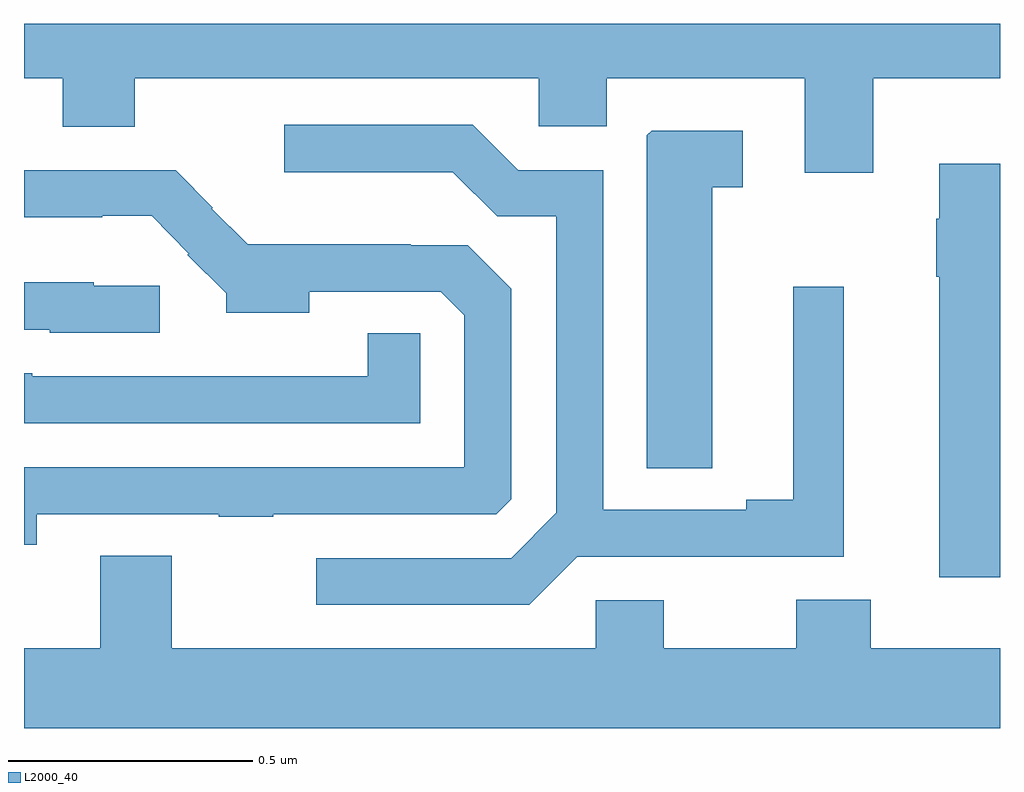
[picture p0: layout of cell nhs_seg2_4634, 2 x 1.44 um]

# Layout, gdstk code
import gdstk
lib = gdstk.Library(unit=1e-6, precision=1e-09)
def P(c, l, *ps):  # polygons
    for p in ps: c.add(gdstk.Polygon(p, *l))
L2000_40 = (2000, 40)

nhs_seg2_4634 = lib.new_cell('nhs_seg2_4634')
P(nhs_seg2_4634, L2000_40, [(170.74,595.688),(171,595.688),(171,595.8),(169,595.8),(169,595.688),(169.079,595.688),(169.079,595.589),(169.227,595.589),(169.227,595.688),(170.055,595.688),(170.055,595.59),(170.194,595.59),(170.194,595.688),(170.6,595.688),(170.6,595.494),(170.74,595.494)],
  [(170.134,594.708),(170.68,594.708),(170.68,595.261),(170.576,595.261),(170.576,594.824),(170.48,594.824),(170.48,594.804),(170.187,594.804),(170.187,595.5),(170.013,595.5),(169.92,595.593),(169.533,595.593),(169.533,595.496),(169.879,595.496),(169.97,595.405),(170.091,595.405),(170.091,594.798),(169.998,594.705),(169.599,594.705),(169.599,594.609),(170.035,594.609)],
  [(170.41,595.465),(170.473,595.465),(170.473,595.581),(170.286,595.581),(170.276,595.571),(170.276,594.889),(170.41,594.889)],
  [(171,595.513),(170.876,595.513),(170.876,595.4),(170.869,595.4),(170.869,595.281),(170.876,595.281),(170.876,594.666),(171,594.666)],
  [(169.026,594.795),(169.399,594.795),(169.399,594.79),(169.511,594.79),(169.511,594.795),(169.968,594.795),(169.998,594.825),(169.998,595.257),(169.909,595.346),(169.793,595.346),(169.793,595.348),(169.459,595.348),(169.385,595.421),(169.387,595.423),(169.311,595.5),(169,595.5),(169,595.403),(169.16,595.403),(169.16,595.406),(169.262,595.406),(169.338,595.329),(169.335,595.326),(169.414,595.248),(169.414,595.208),(169.585,595.208),(169.585,595.251),(169.854,595.251),(169.902,595.203),(169.902,594.891),(169,594.891),(169,594.732),(169.026,594.732)],
  [(169.278,595.263),(169.143,595.263),(169.143,595.27),(169,595.27),(169,595.173),(169.053,595.173),(169.053,595.167),(169.278,595.167)],
  [(169.812,595.166),(169.704,595.166),(169.704,595.078),(169.449,595.078),(169.449,595.077),(169.017,595.077),(169.017,595.084),(169,595.084),(169,594.981),(169.812,594.981)],
  [(171,594.52),(170.735,594.52),(170.735,594.619),(170.582,594.619),(170.582,594.52),(170.311,594.52),(170.311,594.618),(170.172,594.618),(170.172,594.52),(169.303,594.52),(169.303,594.71),(169.156,594.71),(169.156,594.52),(169,594.52),(169,594.356),(171,594.356)])

lib.write_gds('nhs_seg2_4634.gds')
